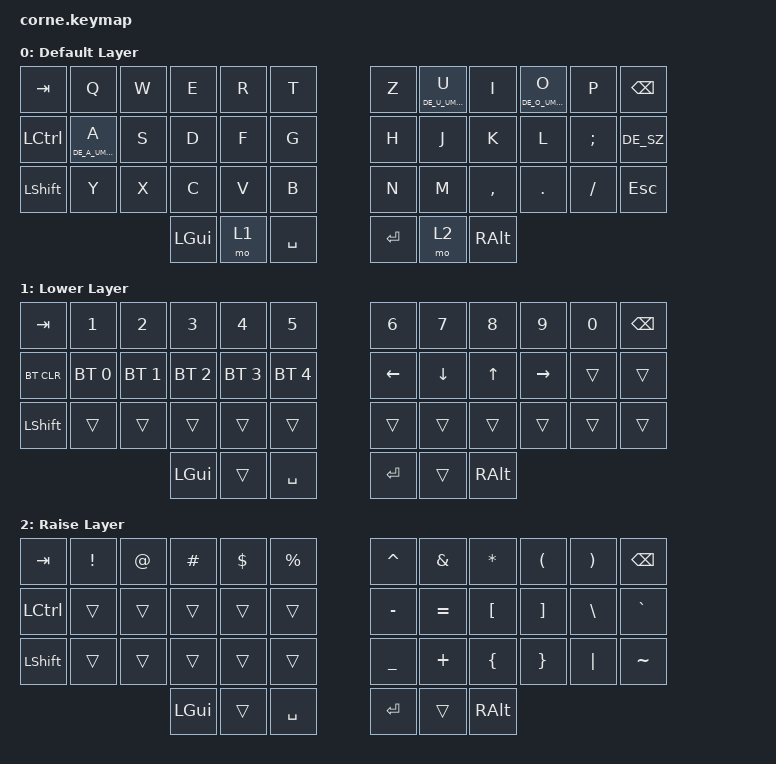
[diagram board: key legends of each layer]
/*
 * Copyright (c) 2020 The ZMK Contributors
 *
 * SPDX-License-Identifier: MIT
 */

#include <behaviors.dtsi>
#include <dt-bindings/zmk/keys.h>
#include <dt-bindings/zmk/bt.h>
#include <locale/keys_de.h>

/ {
  behaviors {
    a_or_ae: a_or_ae {
      compatible = "zmk,behavior-hold-tap";
      label = "A_or_AE";
      #binding-cells = <2>;
      flavor = "balanced";
      tapping-term-ms = <200>;
      require-prior-idle-ms = <125>;
      bindings = <&kp &kp>;
    };

    o_or_oe: o_or_oe {
      compatible = "zmk,behavior-hold-tap";
      label = "O_or_OE";
      #binding-cells = <2>;
      flavor = "balanced";
      tapping-term-ms = <200>;
      require-prior-idle-ms = <125>;
      bindings = <&kp &kp>;
    };

    u_or_ue: u_or_ue {
      compatible = "zmk,behavior-hold-tap";
      label = "U_or_UE";
      #binding-cells = <2>;
      flavor = "balanced";
      tapping-term-ms = <200>;
      require-prior-idle-ms = <125>;
      bindings = <&kp &kp>;
    };
  };

  keymap {
    compatible = "zmk,keymap";

    default_layer {
      display-name = "Default Layer";
// -----------------------------------------------------------------------------------------
// |  TAB |  Q  |  W  |  E  |  R  |  T  |   |  Z  |  U   |  I  |  O  |  P  | BSPC |
// | CTRL |  A  |  S  |  D  |  F  |  G  |   |  H  |  J   |  K  |  L  |  ;  |  '   |
// | SHFT |  Y  |  X  |  C  |  V  |  B  |   |  N  |  M   |  ,  |  .  |  /  | ESC  |
//                    | GUI | LWR | SPC |   | ENT | RSE  | ALT |
      bindings = <
        &kp TAB   &kp Q &kp W &kp E &kp R &kp T    &kp Z &u_or_ue DE_U_UMLAUT U  &kp I   &o_or_oe DE_O_UMLAUT O  &kp P    &kp BSPC
        &kp LCTRL &a_or_ae DE_A_UMLAUT A &kp S &kp D &kp F &kp G    &kp H &kp J  &kp K   &kp L   &kp SEMI &kp DE_SZ
        &kp LSHFT &kp Y &kp X &kp C &kp V &kp B    &kp N &kp M  &kp COMMA &kp DOT &kp FSLH &kp ESC
                         &kp LGUI &mo 1 &kp SPACE    &kp RET &mo 2 &kp RALT
      >;
    };

    lower_layer {
      display-name = "Lower Layer";
// -----------------------------------------------------------------------------------------
// |  TAB |  1  |  2  |  3  |  4  |  5  |   |  6  |  7  |  8  |  9  |  0  | BSPC |
// | BTCLR| BT1 | BT2 | BT3 | BT4 | BT5 |   | LFT | DWN |  UP | RGT |     |      |
// | SHFT |     |     |     |     |     |   |     |     |     |     |     |      |
//                    | GUI |     | SPC |   | ENT |     | ALT |
      bindings = <
        &kp TAB    &kp N1       &kp N2       &kp N3       &kp N4       &kp N5         &kp N6   &kp N7   &kp N8 &kp N9    &kp N0 &kp BSPC
        &bt BT_CLR &bt BT_SEL 0 &bt BT_SEL 1 &bt BT_SEL 2 &bt BT_SEL 3 &bt BT_SEL 4   &kp LEFT &kp DOWN &kp UP &kp RIGHT &trans &trans
        &kp LSHFT  &trans       &trans       &trans       &trans       &trans         &trans   &trans   &trans &trans    &trans &trans
                               &kp LGUI     &trans       &kp SPACE      &kp RET  &trans   &kp RALT
      >;
    };

    raise_layer {
      display-name = "Raise Layer";
// -----------------------------------------------------------------------------------------
// |  TAB |  !  |  @  |  #  |  $  |  %  |   |  ^  |  &  |  *  |  (  |  )  | BSPC |
// | CTRL |     |     |     |     |     |   |  -  |  =  |  [  |  ]  |  \  |  `   |
// | SHFT |     |     |     |     |     |   |  _  |  +  |  {  |  }  | "|" |  ~   |
//                    | GUI |     | SPC |   | ENT |     | ALT |
      bindings = <
        &kp  TAB  &kp EXCL &kp AT &kp HASH &kp DLLR &kp PRCNT   &kp CARET &kp AMPS  &kp ASTRK &kp LPAR &kp RPAR &kp BSPC
        &kp LCTRL &trans   &trans &trans   &trans   &trans      &kp MINUS &kp EQUAL &kp LBKT  &kp RBKT &kp BSLH &kp GRAVE
        &kp LSHFT &trans   &trans &trans   &trans   &trans      &kp UNDER &kp PLUS  &kp LBRC  &kp RBRC &kp PIPE &kp TILDE
                              &kp LGUI &trans   &kp SPACE   &kp RET   &trans    &kp RALT
      >;
    };
  };
};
